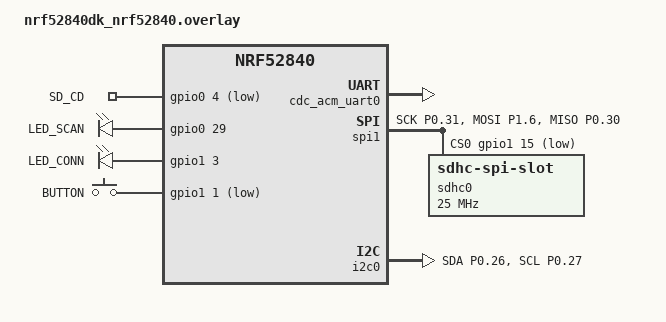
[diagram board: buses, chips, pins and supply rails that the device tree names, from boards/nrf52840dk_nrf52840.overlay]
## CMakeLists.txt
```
cmake_minimum_required(VERSION 3.20.0)

find_package(Zephyr REQUIRED HINTS $ENV{ZEPHYR_BASE})

project(nrf52840-sd-card+rtc-test)

target_sources(app PRIVATE
	src/main.c
	src/ble.c
	src/ble_sensor.c
	src/data_logger.c
)

zephyr_include_directories(${CMAKE_CURRENT_SOURCE_DIR}/inc)
target_include_directories(app PRIVATE inc)
```

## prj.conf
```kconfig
CONFIG_POWEROFF=y
CONFIG_PM_DEVICE=y
CONFIG_PM=y
CONFIG_PM_POLICY_DEFAULT=y

CONFIG_MAIN_STACK_SIZE=2048
CONFIG_SYSTEM_WORKQUEUE_STACK_SIZE=3072
CONFIG_BT_RX_STACK_SIZE=3072
CONFIG_HEAP_MEM_POOL_SIZE=16384

CONFIG_SPI=y
CONFIG_GPIO=y
CONFIG_I2C=y

CONFIG_DISK_ACCESS=y
CONFIG_DISK_DRIVERS=y

CONFIG_FILE_SYSTEM=y
CONFIG_FAT_FILESYSTEM_ELM=y
CONFIG_FS_FATFS_LFN=y
CONFIG_FS_FATFS_LFN_MODE_BSS=y
CONFIG_FS_FATFS_MAX_LFN=255
CONFIG_FS_FATFS_HAS_RTC=y
CONFIG_SDHC=y
CONFIG_SPI_SDHC=y

CONFIG_LOG=y
CONFIG_PRINTK=y
CONFIG_LOG_DEFAULT_LEVEL=1
CONFIG_LOG_BACKEND_UART_AUTOSTART=y

# Silence noisy subsystems, keep main errors visible
CONFIG_BT_LOG_LEVEL_ERR=y
CONFIG_BT_HCI_DRIVER_LOG_LEVEL_ERR=y
CONFIG_DISK_LOG_LEVEL_ERR=y
CONFIG_FS_LOG_LEVEL_ERR=y
CONFIG_SPI_LOG_LEVEL_ERR=y
CONFIG_I2C_LOG_LEVEL_ERR=y
CONFIG_SERIAL=y
CONFIG_CONSOLE=y
CONFIG_UART_CONSOLE=y
CONFIG_STDOUT_CONSOLE=y
CONFIG_UART_LINE_CTRL=y
CONFIG_USB_DEVICE_STACK_NEXT=y
CONFIG_UDC_BUF_COUNT=16
CONFIG_UDC_BUF_POOL_SIZE=8192
CONFIG_CDC_ACM_SERIAL_INITIALIZE_AT_BOOT=y
CONFIG_USBD_CDC_ACM_LOG_LEVEL_OFF=y
CONFIG_CDC_ACM_SERIAL_PRODUCT_STRING="datalogger_rev1"
CONFIG_CDC_ACM_SERIAL_PID=0x0004

CONFIG_BT=y
CONFIG_BT_CENTRAL=y
CONFIG_BT_OBSERVER=y
CONFIG_BT_MAX_CONN=4
CONFIG_BT_DEVICE_NAME="sensor_datalogger"
CONFIG_BT_GATT_CLIENT=y
CONFIG_BT_USER_PHY_UPDATE=y
CONFIG_BT_CTLR_PHY_CODED=y

CONFIG_BT_USER_DATA_LEN_UPDATE=y
CONFIG_BT_CTLR_DATA_LENGTH_MAX=251
CONFIG_BT_BUF_ACL_RX_SIZE=251
CONFIG_BT_BUF_ACL_TX_SIZE=251
CONFIG_BT_L2CAP_TX_MTU=247

CONFIG_BT_L2CAP_TX_BUF_COUNT=20
CONFIG_BT_BUF_ACL_TX_COUNT=20
CONFIG_BT_BUF_EVT_RX_COUNT=24
```

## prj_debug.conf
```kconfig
CONFIG_USB_DEVICE_STACK_NEXT=y
CONFIG_UDC_BUF_COUNT=16
CONFIG_UDC_BUF_POOL_SIZE=8192
CONFIG_CDC_ACM_SERIAL_INITIALIZE_AT_BOOT=y
CONFIG_USBD_CDC_ACM_LOG_LEVEL_OFF=y
CONFIG_CDC_ACM_SERIAL_PRODUCT_STRING="datalogger_rev1"
CONFIG_CDC_ACM_SERIAL_PID=0x0004
```

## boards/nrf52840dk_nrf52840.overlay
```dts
/* SPI1 configuration for SD card (HW-125 module) */
/ {
	aliases {
		sd-cd = &sd_cd;
	};

	chosen {
		zephyr,console = &cdc_acm_uart0;
		zephyr,shell-uart = &cdc_acm_uart0;
	};

	sd_inputs {
		compatible = "gpio-keys";

		sd_cd: sd_card_detect {
			gpios = <&gpio0 4 (GPIO_PULL_UP | GPIO_ACTIVE_LOW)>;
			label = "SD_CD";
		};
	};
};

&pinctrl {
	spi1_default: spi1_default {
		group1 {
			psels = <NRF_PSEL(SPIM_SCK, 0, 31)>;
		};
		group2 {
			psels = <NRF_PSEL(SPIM_MOSI, 1, 6)>;
			bias-pull-up;
		};
		group3 {
			psels = <NRF_PSEL(SPIM_MISO, 0, 30)>;
			bias-pull-up;
		};
	};
	spi1_sleep: spi1_sleep {
		group1 {
			psels = <NRF_PSEL(SPIM_SCK, 0, 31)>;
		};
		group2 {
			psels = <NRF_PSEL(SPIM_MOSI, 1, 6)>;
			bias-pull-up;
			low-power-enable;
		};
		group3 {
			psels = <NRF_PSEL(SPIM_MISO, 0, 30)>;
			bias-pull-up;
			low-power-enable;
		};
	};

	i2c0_default: i2c0_default {
		group1 {
			psels = <NRF_PSEL(TWIM_SDA, 0, 26)>,
				<NRF_PSEL(TWIM_SCL, 0, 27)>;
			bias-pull-up;
		};
	};
	i2c0_sleep: i2c0_sleep {
		group1 {
			psels = <NRF_PSEL(TWIM_SDA, 0, 26)>,
				<NRF_PSEL(TWIM_SCL, 0, 27)>;
			bias-pull-up;
			low-power-enable;
		};
	};
};

&zephyr_udc0 {
	cdc_acm_uart0: cdc_acm_uart0 {
		compatible = "zephyr,cdc-acm-uart";
	};
};

&spi1 {
	status = "okay";
	cs-gpios = <&gpio1 15 GPIO_ACTIVE_LOW>;
	pinctrl-0 = <&spi1_default>;
	pinctrl-1 = <&spi1_sleep>;
	pinctrl-names = "default", "sleep";

	sdhc0: sdhc@0 {
		compatible = "zephyr,sdhc-spi-slot";
		reg = <0>;
		status = "okay";
		spi-max-frequency = <25000000>;

		sdmmc0: sdmmc-disk {
			compatible = "zephyr,sdmmc-disk";
			disk-name = "SD";
			status = "okay";
		};
	};
};

&i2c0 {
	status = "okay";
	pinctrl-0 = <&i2c0_default>;
	pinctrl-1 = <&i2c0_sleep>;
	pinctrl-names = "default", "sleep";
};

&led0 {
	gpios = <&gpio0 29 GPIO_ACTIVE_HIGH>;
	label = "LED_SCAN";
};

&led1 {
	gpios = <&gpio1 3 GPIO_ACTIVE_HIGH>;
	label = "LED_CONN";
};

&button0 {
	gpios = <&gpio1 1 (GPIO_PULL_UP | GPIO_ACTIVE_LOW)>;
	label = "BUTTON";
};
```

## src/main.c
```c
#include <zephyr/kernel.h>
#include <zephyr/logging/log.h>
#include <zephyr/storage/disk_access.h>
#include <zephyr/fs/fs.h>
#include <zephyr/drivers/i2c.h>
#include <zephyr/drivers/gpio.h>
#include <zephyr/drivers/uart.h>
#include <ff.h>
#include <stdlib.h>
#include <string.h>

#include "ble.h"
#include "ble_sensor.h"
#include "data_logger.h"

LOG_MODULE_REGISTER(main, LOG_LEVEL_INF);

#define DISK_DRIVE_NAME "SD"
#define DISK_MOUNT_PT "/SD:"
#define RTC_I2C_ADDR 0x68
#define CONFIG_FILE_PATH DISK_MOUNT_PT "/config.txt"
#define DEFAULT_SENSOR_TYPE "double icm"
#define DEFAULT_SENSOR_BLE_NAME "crassus_sensor"
#define DEFAULT_SENSOR_DELAY_MS 1000U

#define SCAN_LED_NODE DT_ALIAS(led0)
#define CONN_LED_NODE DT_ALIAS(led1)
#define USER_BUTTON_NODE DT_ALIAS(sw0)
#define SD_CD_NODE DT_ALIAS(sd_cd)

static const struct gpio_dt_spec scan_led = GPIO_DT_SPEC_GET(SCAN_LED_NODE, gpios);
static const struct gpio_dt_spec conn_led = GPIO_DT_SPEC_GET(CONN_LED_NODE, gpios);
static const struct gpio_dt_spec user_button = GPIO_DT_SPEC_GET(USER_BUTTON_NODE, gpios);
static const struct gpio_dt_spec sd_cd = GPIO_DT_SPEC_GET(SD_CD_NODE, gpios);

static FATFS fat_fs;

static struct fs_mount_t mp = {
    .type = FS_FATFS,
    .fs_data = &fat_fs,
};

static const struct device *i2c_dev;

struct app_config {
    char sensor_type[32];
    char sensor_ble_name[32];
    uint16_t sensor_delay_ms;
};

static void load_default_config(struct app_config *cfg)
{
    strncpy(cfg->sensor_type, DEFAULT_SENSOR_TYPE, sizeof(cfg->sensor_type));
    cfg->sensor_type[sizeof(cfg->sensor_type) - 1] = '\0';

    strncpy(cfg->sensor_ble_name, DEFAULT_SENSOR_BLE_NAME, sizeof(cfg->sensor_ble_name));
    cfg->sensor_ble_name[sizeof(cfg->sensor_ble_name) - 1] = '\0';

    cfg->sensor_delay_ms = DEFAULT_SENSOR_DELAY_MS;
}

static char *trim_spaces(char *s)
{
    while (*s == ' ' || *s == '\t' || *s == '\r' || *s == '\n') {
        s++;
    }

    size_t len = strlen(s);
    while (len > 0U) {
        char c = s[len - 1U];
        if (c == ' ' || c == '\t' || c == '\r' || c == '\n') {
            s[len - 1U] = '\0';
            len--;
            continue;
        }
        break;
    }

    return s;
}

static int write_default_config_file(const struct app_config *cfg)
{
    struct fs_file_t file;
    char line[128];

    fs_file_t_init(&file);

    int ret = fs_open(&file, CONFIG_FILE_PATH, FS_O_CREATE | FS_O_WRITE);
    if (ret != 0) {
        return ret;
    }

    int len = snprintk(line, sizeof(line), "%s,%s,%u\n",
                       cfg->sensor_type,
                       cfg->sensor_ble_name,
                       cfg->sensor_delay_ms);
    if (len <= 0 || len >= (int)sizeof(line)) {
        (void)fs_close(&file);
        return -EINVAL;
    }

    ret = fs_write(&file, line, len);
    (void)fs_close(&file);
    if (ret < 0) {
        return ret;
    }

    return 0;
}

static int parse_config_line(struct app_config *cfg, char *line)
{
    char *saveptr;
    char *sensor_type;
    char *sensor_name;
    char *delay_str;
    long delay;

    sensor_type = strtok_r(line, ",", &saveptr);
    sensor_name = strtok_r(NULL, ",", &saveptr);
    delay_str = strtok_r(NULL, ",", &saveptr);

    if (sensor_type == NULL || sensor_name == NULL || delay_str == NULL) {
        return -EINVAL;
    }

    sensor_type = trim_spaces(sensor_type);
    sensor_name = trim_spaces(sensor_name);
    delay_str = trim_spaces(delay_str);

    if (sensor_type[0] == '\0' || sensor_name[0] == '\0') {
        return -EINVAL;
    }

    delay = strtol(delay_str, NULL, 10);
    if (delay <= 0L || delay > 65535L) {
        return -EINVAL;
    }

    strncpy(cfg->sensor_type, sensor_type, sizeof(cfg->sensor_type));
    cfg->sensor_type[sizeof(cfg->sensor_type) - 1] = '\0';

    strncpy(cfg->sensor_ble_name, sensor_name, sizeof(cfg->sensor_ble_name));
    cfg->sensor_ble_name[sizeof(cfg->sensor_ble_name) - 1] = '\0';

    cfg->sensor_delay_ms = (uint16_t)delay;
    return 0;
}

static int load_or_create_config(struct app_config *cfg)
{
    struct fs_file_t file;
    char line[128];

    load_default_config(cfg);
    fs_file_t_init(&file);

    int ret = fs_open(&file, CONFIG_FILE_PATH, FS_O_READ);
    if (ret == -ENOENT) {
        ret = write_default_config_file(cfg);
        if (ret != 0) {
            return ret;
        }

        LOG_INF("Config file created: %s", CONFIG_FILE_PATH);
        return 0;
    }
    if (ret != 0) {
        return ret;
    }

    ssize_t read_len = fs_read(&file, line, sizeof(line) - 1);
    (void)fs_close(&file);
    if (read_len < 0) {
        return (int)read_len;
    }
    if (read_len == 0) {
        int write_ret = write_default_config_file(cfg);
        if (write_ret != 0) {
            return write_ret;
        }

        LOG_WRN("Config file was empty, restored defaults");
        return 0;
    }

    line[read_len] = '\0';

    ret = parse_config_line(cfg, line);
    if (ret != 0) {
        load_default_config(cfg);

        ret = write_default_config_file(cfg);
        if (ret != 0) {
            return ret;
        }

        LOG_WRN("Config file invalid, restored defaults");
        return 0;
    }

    LOG_INF("Config loaded: type='%s' name='%s' delay=%u",
            cfg->sensor_type,
            cfg->sensor_ble_name,
            cfg->sensor_delay_ms);
    return 0;
}

static void set_led(const struct gpio_dt_spec *led, int value)
{
    if (led->port != NULL) {
        (void)gpio_pin_set_dt(led, value);
    }
}

static void error_halt(void)
{
    set_led(&scan_led, 1);
    set_led(&conn_led, 1);
    while (1) {
        k_sleep(K_SECONDS(1));
    }
}

static int sd_card_present(void)
{
    if (!device_is_ready(sd_cd.port)) {
        return -ENODEV;
    }

    int ret = gpio_pin_configure_dt(&sd_cd, GPIO_INPUT);
    if (ret != 0) {
        return ret;
    }

    ret = gpio_pin_get_dt(&sd_cd);
    if (ret < 0) {
        return ret;
    }

    return ret;
}

static uint8_t bcd_to_bin(uint8_t bcd)
{
    return ((bcd >> 4) * 10U) + (bcd & 0x0F);
}

static int rtc_read_timestamp(char *buf, size_t len)
{
    uint8_t reg = 0x00;
    uint8_t data[7];

    int ret = i2c_write_read(i2c_dev, RTC_I2C_ADDR, &reg, 1, data, sizeof(data));
    if (ret != 0) {
        return ret;
    }

    uint8_t sec = bcd_to_bin(data[0] & 0x7F);
    uint8_t min = bcd_to_bin(data[1] & 0x7F);
    uint8_t hour = bcd_to_bin(data[2] & 0x3F);
    uint8_t day = bcd_to_bin(data[4] & 0x3F);
    uint8_t mon = bcd_to_bin(data[5] & 0x1F);
    uint16_t year = 2000 + bcd_to_bin(data[6]);

    return snprintk(buf, len, "%04u-%02u-%02u %02u:%02u:%02u",
        year, mon, day, hour, min, sec);
}


#if IS_ENABLED(CONFIG_USB_DEVICE_STACK_NEXT)
static void wait_for_usb_console(void)
{
    const struct device *console = DEVICE_DT_GET(DT_CHOSEN(zephyr_console));
    uint32_t dtr = 0;
    int64_t deadline = k_uptime_get() + 1000;

    while (k_uptime_get() < deadline) {
        uart_line_ctrl_get(console, UART_LINE_CTRL_DTR, &dtr);
        if (dtr) {
            return;
        }
        k_sleep(K_MSEC(100));
    }
}
#endif

int main(void)
{
    int ret;
    struct app_config cfg;

#if IS_ENABLED(CONFIG_USB_DEVICE_STACK_NEXT)
    wait_for_usb_console();
#endif

    LOG_INF("Datalogger boot");

    if (!device_is_ready(scan_led.port) || !device_is_ready(conn_led.port)) {
        LOG_ERR("LED GPIO not ready");
        return -ENODEV;
    }

    ret = gpio_pin_configure_dt(&scan_led, GPIO_OUTPUT_INACTIVE);
    if (ret != 0) {
        LOG_ERR("Scan LED init failed: %d", ret);
        return ret;
    }

    ret = gpio_pin_configure_dt(&conn_led, GPIO_OUTPUT_INACTIVE);
    if (ret != 0) {
        LOG_ERR("Conn LED init failed: %d", ret);
        return ret;
    }

    ret = sd_card_present();
    if (ret < 0) {
        LOG_ERR("SD card detect init failed: %d", ret);
        error_halt();
    }
    if (ret == 0) {
        LOG_ERR("No SD card detected");
        error_halt();
    }

    ret = disk_access_ioctl(DISK_DRIVE_NAME, DISK_IOCTL_CTRL_INIT, NULL);
    if (ret != 0) {
        LOG_ERR("Disk init failed: %d", ret);
        error_halt();
    }

    mp.mnt_point = DISK_MOUNT_PT;
    ret = fs_mount(&mp);
    if (ret != 0) {
        LOG_ERR("Mount failed: %d", ret);
        error_halt();
    }

    ret = load_or_create_config(&cfg);
    if (ret != 0) {
        LOG_ERR("Config load/create failed: %d", ret);
        error_halt();
    }

    if ((strcmp(cfg.sensor_type, "double icm") != 0) &&
        (strcmp(cfg.sensor_type, "double_icm") != 0)) {
        LOG_WRN("Sensor type '%s' not explicitly supported yet, using default BLE workflow",
                cfg.sensor_type);
    }

    ret = ble_set_target_name(cfg.sensor_ble_name);
    if (ret != 0) {
        LOG_ERR("BLE target name config failed: %d", ret);
        error_halt();
    }

    ret = ble_sensor_set_delay_ms(cfg.sensor_delay_ms);
    if (ret != 0) {
        LOG_ERR("Sensor delay config failed: %d", ret);
        error_halt();
    }

    ret = ble_init(&scan_led, &conn_led, &user_button);
    if (ret != 0) {
        LOG_ERR("BLE init failed: %d", ret);
        error_halt();
    }

    i2c_dev = DEVICE_DT_GET(DT_NODELABEL(i2c0));
    if (!device_is_ready(i2c_dev)) {
        LOG_ERR("I2C0 not ready");
        error_halt();
    }

/*     ret = rtc_set_fixed_time_for_flash();
    if (ret != 0) {
        LOG_ERR("RTC fixed-time init failed: %d", ret);
        error_halt();
    } */

    char timestamp[32];
    ret = rtc_read_timestamp(timestamp, sizeof(timestamp));
    if (ret < 0) {
        LOG_ERR("RTC init failed: %d", ret);
        error_halt();
    }

    ret = data_logger_init(i2c_dev);
    if (ret != 0) {
        LOG_ERR("Data logger init failed: %d", ret);
        error_halt();
    }

    LOG_INF("Init complete — RTC: %s", timestamp);

    /* Ready indication: double-blink both LEDs */
    for (int i = 0; i < 2; i++) {
        set_led(&scan_led, 1);
        set_led(&conn_led, 1);
        k_sleep(K_MSEC(150));
        set_led(&scan_led, 0);
        set_led(&conn_led, 0);
        k_sleep(K_MSEC(150));
    }

    while (1) {
        k_sleep(K_FOREVER);
    }
}
```

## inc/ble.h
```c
#ifndef BLE_H
#define BLE_H

#include <stddef.h>
#include <zephyr/drivers/gpio.h>

int ble_init(const struct gpio_dt_spec *scan_led,
             const struct gpio_dt_spec *conn_led,
             const struct gpio_dt_spec *button);
int ble_set_target_name(const char *name);

#endif /* BLE_H */
```

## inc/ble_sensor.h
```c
#ifndef BLE_SENSOR_H
#define BLE_SENSOR_H

#include <stdint.h>
#include <zephyr/bluetooth/conn.h>

int ble_sensor_init(void);
int ble_sensor_set_delay_ms(uint16_t delay_ms);
void ble_sensor_on_connected(struct bt_conn *conn, const char *device_name);
void ble_sensor_on_disconnected(struct bt_conn *conn, uint8_t reason);

#endif /* BLE_SENSOR_H */
```

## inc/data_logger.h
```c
#ifndef DATA_LOGGER_H
#define DATA_LOGGER_H

#include <stdint.h>
#include <zephyr/device.h>

struct Sample {
    int16_t ax1;
    int16_t ay1;
    int16_t az1;
    int16_t mx1;
    int16_t my1;
    int16_t mz1;
    int16_t ax2;
    int16_t ay2;
    int16_t az2;
    int16_t mx2;
    int16_t my2;
    int16_t mz2;
};

int data_logger_init(const struct device *i2c_dev);
int data_logger_queue_sample(const char *device_name,
                             const char *device_addr,
                             const struct Sample *sample);
void data_logger_set_sample_period(uint16_t sample_period_ms);
void data_logger_flush(void);
void data_logger_flush_sync(void);

#endif /* DATA_LOGGER_H */
```

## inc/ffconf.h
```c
/*
 * Custom FatFS configuration for NCS 3.1.1
 * Defines FF_VOLUMES to prevent compilation error
 */

#ifndef FFCONF_H
#define FFCONF_H

#define FF_VOLUMES 1

#define FF_USE_LFN        1
#define FF_MAX_LFN        255
#define FF_LFN_UNICODE    0

#endif /* FFCONF_H */
```

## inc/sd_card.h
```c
#include <stddef.h>

#ifndef SD_CARD_H
#define SD_CARD_H

#ifdef __cplusplus
extern "C" {
#endif

int sd_card_init(void);
int sd_card_write_test_file(const char *filename, const char *contents);

#ifdef __cplusplus
}
#endif

#endif /* SD_CARD_H */
```

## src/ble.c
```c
#include <zephyr/kernel.h>
#include <zephyr/logging/log.h>
#include <zephyr/drivers/gpio.h>
#include <zephyr/bluetooth/bluetooth.h>
#include <zephyr/bluetooth/conn.h>
#include <zephyr/bluetooth/hci.h>
#include <zephyr/bluetooth/addr.h>
#include <zephyr/sys/atomic.h>
#include <zephyr/sys/util.h>
#include <errno.h>
#include <string.h>

#include "ble.h"
#include "ble_sensor.h"

LOG_MODULE_REGISTER(ble, LOG_LEVEL_INF);

#define SCAN_BLINK_PERIOD_MS 200
#define SCAN_DURATION_SECONDS 10
#define CONNECT_RETRY_DELAY_MS 1500
#define RECONNECT_SCAN_DELAY_SECONDS 3
#define RECONNECT_SCAN_BACKOFF_SECONDS 30
#define PHY_UPDATE_DELAY_MS 1200
#define BUTTON_DEBOUNCE_MS 150

#define MAX_CONN CONFIG_BT_MAX_CONN
#define MAX_TARGET_NAME_LEN 32

static const struct gpio_dt_spec *scan_led;
static const struct gpio_dt_spec *conn_led;
static const struct gpio_dt_spec *user_button;

static struct k_work scan_start_work;
static struct k_work_delayable scan_stop_work;
static struct k_work_delayable reconnect_scan_work;
static struct k_work_delayable phy_update_work;
static struct k_timer scan_blink_timer;
static struct gpio_callback button_cb_data;
static atomic_t scan_active;
static atomic_t connect_in_progress;
static int64_t last_connect_ms;
static int64_t last_button_event_ms;
static struct k_work_delayable connect_work;
static bt_addr_le_t connect_addr;
static bool connect_addr_valid;
static atomic_t reconnect_mode;

static struct bt_conn *active_conns[MAX_CONN];
static bt_addr_le_t pending_addrs[MAX_CONN];
static bool pending_in_use[MAX_CONN];
static size_t active_conn_count;
static struct bt_conn *pending_create_conn;
static struct bt_conn *pending_phy_conn;

static char target_name[MAX_TARGET_NAME_LEN] = "crassus_sensor";

static void remove_pending_addr(const bt_addr_le_t *addr);
static void schedule_reconnect_scan(k_timeout_t delay);

static void schedule_phy_update(struct bt_conn *conn)
{
    if (conn == NULL) {
        return;
    }

    if (pending_phy_conn != NULL) {
        bt_conn_unref(pending_phy_conn);
        pending_phy_conn = NULL;
    }

    pending_phy_conn = bt_conn_ref(conn);
    (void)k_work_cancel_delayable(&phy_update_work);
    k_work_schedule(&phy_update_work, K_MSEC(PHY_UPDATE_DELAY_MS));
}

static void phy_update_work_handler(struct k_work *work)
{
    ARG_UNUSED(work);

    if (pending_phy_conn == NULL) {
        return;
    }

    int ret = bt_conn_le_phy_update(pending_phy_conn, BT_CONN_LE_PHY_PARAM_CODED);
    if (ret != 0) {
        LOG_WRN("Delayed PHY update request failed (%d)", ret);
    } else {
        LOG_INF("Delayed PHY update requested");
    }

    bt_conn_unref(pending_phy_conn);
    pending_phy_conn = NULL;
}

static void start_connection_attempt(void)
{
    if (!connect_addr_valid) {
        atomic_set(&connect_in_progress, 0);
        return;
    }

    char addr_str[BT_ADDR_LE_STR_LEN];
    bt_addr_le_to_str(&connect_addr, addr_str, sizeof(addr_str));
    LOG_INF("Connecting to %s", addr_str);

    struct bt_conn *conn = NULL;
    int ret = bt_conn_le_create(&connect_addr, BT_CONN_LE_CREATE_CONN,
                                BT_LE_CONN_PARAM_DEFAULT, &conn);
    if (ret != 0) {
        LOG_WRN("Connect failed (%d)", ret);
        remove_pending_addr(&connect_addr);
        connect_addr_valid = false;
        atomic_set(&connect_in_progress, 0);

        if (atomic_get(&reconnect_mode) && active_conn_count == 0U) {
            schedule_reconnect_scan(K_SECONDS(RECONNECT_SCAN_BACKOFF_SECONDS));
        }

        return;
    }

    if (conn == NULL) {
        LOG_ERR("bt_conn_le_create succeeded with NULL conn");
        return;
    }

    if (pending_create_conn != NULL) {
        LOG_WRN("Releasing stale pending connect ref %p", pending_create_conn);
        bt_conn_unref(pending_create_conn);
        pending_create_conn = NULL;
    }

    pending_create_conn = conn;
}

static size_t count_active_conns(void)
{
    size_t count = 0U;

    for (size_t i = 0; i < MAX_CONN; i++) {
        if (active_conns[i] != NULL) {
            count++;
        }
    }

    return count;
}

static void schedule_reconnect_scan(k_timeout_t delay)
{
    if (active_conn_count > 0U) {
        return;
    }

    atomic_set(&reconnect_mode, 1);
    (void)k_work_cancel_delayable(&reconnect_scan_work);
    k_work_schedule(&reconnect_scan_work, delay);
}

static void reconnect_scan_work_handler(struct k_work *work)
{
    ARG_UNUSED(work);

    if (active_conn_count > 0U) {
        atomic_set(&reconnect_mode, 0);
        return;
    }

    k_work_submit(&scan_start_work);
}

static void set_led(const struct gpio_dt_spec *led, int value)
{
    if (led && led->port != NULL) {
        (void)gpio_pin_set_dt(led, value);
    }
}

static void update_conn_led(void)
{
    active_conn_count = count_active_conns();
    set_led(conn_led, active_conn_count > 0U ? 1 : 0);
}

static bool addr_is_pending(const bt_addr_le_t *addr)
{
    for (size_t i = 0; i < MAX_CONN; i++) {
        if (pending_in_use[i] && (bt_addr_le_cmp(addr, &pending_addrs[i]) == 0)) {
            return true;
        }
    }
    return false;
}

static void add_pending_addr(const bt_addr_le_t *addr)
{
    for (size_t i = 0; i < MAX_CONN; i++) {
        if (!pending_in_use[i]) {
            pending_addrs[i] = *addr;
            pending_in_use[i] = true;
            return;
        }
    }
}

static void remove_pending_addr(const bt_addr_le_t *addr)
{
    for (size_t i = 0; i < MAX_CONN; i++) {
        if (pending_in_use[i] && (bt_addr_le_cmp(addr, &pending_addrs[i]) == 0)) {
            pending_in_use[i] = false;
            return;
        }
    }
}

static bool addr_is_active(const bt_addr_le_t *addr)
{
    for (size_t i = 0; i < MAX_CONN; i++) {
        if (active_conns[i] != NULL) {
            const bt_addr_le_t *dst = bt_conn_get_dst(active_conns[i]);
            if (bt_addr_le_cmp(addr, dst) == 0) {
                return true;
            }
        }
    }
    return false;
}

static void add_active_conn(struct bt_conn *conn)
{
    const bt_addr_le_t *new_dst = bt_conn_get_dst(conn);

    for (size_t i = 0; i < MAX_CONN; i++) {
        if (active_conns[i] == conn) {
            return;
        }

        if (active_conns[i] != NULL) {
            const bt_addr_le_t *dst = bt_conn_get_dst(active_conns[i]);
            if (bt_addr_le_cmp(new_dst, dst) == 0) {
                return;
            }
        }
    }

    for (size_t i = 0; i < MAX_CONN; i++) {
        if (active_conns[i] == NULL) {
            active_conns[i] = bt_conn_ref(conn);
            active_conn_count++;
            return;
        }
    }

    LOG_WRN("No free active connection slots");
}

static void remove_active_conn(struct bt_conn *conn)
{
    const bt_addr_le_t *rm_dst = bt_conn_get_dst(conn);

    for (size_t i = 0; i < MAX_CONN; i++) {
        if (active_conns[i] == conn) {
            bt_conn_unref(active_conns[i]);
            active_conns[i] = NULL;
            if (active_conn_count > 0U) {
                active_conn_count--;
            }
            return;
        }
    }

    /* Fallback for cases where bt_conn pointer identity changed but peer address matches. */
    for (size_t i = 0; i < MAX_CONN; i++) {
        if (active_conns[i] != NULL) {
            const bt_addr_le_t *dst = bt_conn_get_dst(active_conns[i]);
            if (bt_addr_le_cmp(rm_dst, dst) == 0) {
                bt_conn_unref(active_conns[i]);
                active_conns[i] = NULL;
                if (active_conn_count > 0U) {
                    active_conn_count--;
                }
                return;
            }
        }
    }

    LOG_WRN("Disconnect for unknown connection");
}

static bool name_matches_allowed(const uint8_t *name, size_t name_len)
{
    size_t target_len = strlen(target_name);

    if (name_len == target_len && memcmp(name, target_name, name_len) == 0) {
        return true;
    }

    return false;
}

#define MAX_DEVICE_NAME_LEN 32

struct name_match_ctx {
    bool match;
    char name[MAX_DEVICE_NAME_LEN];
};

static bool ad_parse_cb(struct bt_data *data, void *user_data)
{
    struct name_match_ctx *ctx = user_data;

    if (data->type == BT_DATA_NAME_COMPLETE || data->type == BT_DATA_NAME_SHORTENED) {
        if (name_matches_allowed(data->data, data->data_len)) {
            ctx->match = true;
            size_t copy_len = MIN(data->data_len, sizeof(ctx->name) - 1U);
            memcpy(ctx->name, data->data, copy_len);
            ctx->name[copy_len] = '\0';
            return false;
        }
    }

    return true;
}

static char connect_name[MAX_DEVICE_NAME_LEN];

static void connect_work_handler(struct k_work *work)
{
    ARG_UNUSED(work);

    start_connection_attempt();
}

static void device_found(const bt_addr_le_t *addr, int8_t rssi, uint8_t type,
                         struct net_buf_simple *ad)
{
    ARG_UNUSED(rssi);

    if (!atomic_get(&scan_active)) {
        return;
    }

    if (type != BT_GAP_ADV_TYPE_ADV_IND &&
        type != BT_GAP_ADV_TYPE_ADV_DIRECT_IND &&
        type != BT_GAP_ADV_TYPE_SCAN_RSP) {
        return;
    }

    if (active_conn_count >= MAX_CONN) {
        return;
    }

    if (atomic_get(&connect_in_progress)) {
        return;
    }

    if (addr_is_pending(addr) || addr_is_active(addr)) {
        return;
    }

    if ((k_uptime_get() - last_connect_ms) < CONNECT_RETRY_DELAY_MS) {
        return;
    }

    struct name_match_ctx ctx = { 0 };
    bt_data_parse(ad, ad_parse_cb, &ctx);
    if (!ctx.match) {
        return;
    }

    if (ctx.name[0] != '\0') {
        strncpy(connect_name, ctx.name, sizeof(connect_name));
        connect_name[sizeof(connect_name) - 1] = '\0';
    } else {
        strncpy(connect_name, "unknown", sizeof(connect_name));
        connect_name[sizeof(connect_name) - 1] = '\0';
    }

    char addr_str[BT_ADDR_LE_STR_LEN];
    bt_addr_le_to_str(addr, addr_str, sizeof(addr_str));
    LOG_INF("Match found: %s", addr_str);

    atomic_set(&connect_in_progress, 1);
    add_pending_addr(addr);
    last_connect_ms = k_uptime_get();
    if (atomic_get(&scan_active)) {
        (void)bt_le_scan_stop();
        atomic_set(&scan_active, 0);
        k_timer_stop(&scan_blink_timer);
        set_led(scan_led, 0);
    }

    connect_addr = *addr;
    connect_addr_valid = true;
    (void)k_work_cancel_delayable(&connect_work);
    k_work_schedule(&connect_work, K_NO_WAIT);
}

static void scan_blink_timer_handler(struct k_timer *timer)
{
    static bool led_on;

    ARG_UNUSED(timer);
    led_on = !led_on;
    set_led(scan_led, led_on ? 1 : 0);
}

static void scan_stop_work_handler(struct k_work *work)
{
    ARG_UNUSED(work);

    if (!atomic_get(&scan_active)) {
        return;
    }

    int ret = bt_le_scan_stop();
    if (ret != 0) {
        LOG_WRN("Scan stop failed (%d)", ret);
    }

    atomic_set(&scan_active, 0);
    k_timer_stop(&scan_blink_timer);
    set_led(scan_led, 0);
    LOG_INF("Scan stopped");

    if (atomic_get(&reconnect_mode) &&
        active_conn_count == 0U &&
        !atomic_get(&connect_in_progress)) {
        schedule_reconnect_scan(K_SECONDS(RECONNECT_SCAN_BACKOFF_SECONDS));
    }
}

static void scan_start_work_handler(struct k_work *work)
{
    ARG_UNUSED(work);

    if (!atomic_cas(&scan_active, 0, 1)) {
        return;
    }

    struct bt_le_scan_param scan_param = {
        .type = BT_HCI_LE_SCAN_ACTIVE,
        .options = BT_LE_SCAN_OPT_FILTER_DUPLICATE,
        .interval = BT_GAP_SCAN_FAST_INTERVAL,
        .window = BT_GAP_SCAN_FAST_WINDOW,
    };

    int ret = bt_le_scan_start(&scan_param, device_found);
    if (ret != 0) {
        LOG_ERR("Scan start failed (%d)", ret);
        atomic_set(&scan_active, 0);
        return;
    }

    LOG_INF("Scan started");
    k_timer_start(&scan_blink_timer, K_NO_WAIT, K_MSEC(SCAN_BLINK_PERIOD_MS));
    k_work_schedule(&scan_stop_work, K_SECONDS(SCAN_DURATION_SECONDS));
}

static void button_pressed(const struct device *dev, struct gpio_callback *cb,
                           uint32_t pins)
{
    ARG_UNUSED(dev);
    ARG_UNUSED(cb);
    ARG_UNUSED(pins);

    int64_t now = k_uptime_get();
    if ((now - last_button_event_ms) < BUTTON_DEBOUNCE_MS) {
        return;
    }
    last_button_event_ms = now;

    /* Trigger manual scan on button release, not on press. */
    int state = gpio_pin_get_dt(user_button);
    if (state < 0) {
        LOG_WRN("Button read failed: %d", state);
        return;
    }

    if (state != 0) {
        return;
    }

    k_work_submit(&scan_start_work);
}

static void bt_connected(struct bt_conn *conn, uint8_t err)
{
    const bt_addr_le_t *dst = bt_conn_get_dst(conn);
    char addr_str[BT_ADDR_LE_STR_LEN];

    bt_addr_le_to_str(dst, addr_str, sizeof(addr_str));

    if (pending_create_conn == conn) {
        bt_conn_unref(pending_create_conn);
        pending_create_conn = NULL;
    }

    remove_pending_addr(dst);
    atomic_set(&connect_in_progress, 0);
    connect_addr_valid = false;

    if (err != 0U) {
        LOG_WRN("Failed to connect to %s (%u)", addr_str, err);
        return;
    }

    add_active_conn(conn);
    atomic_set(&reconnect_mode, 0);
    (void)k_work_cancel_delayable(&reconnect_scan_work);
    update_conn_led();
    LOG_INF("Connected: %s", addr_str);

    schedule_phy_update(conn);

    ble_sensor_on_connected(conn, connect_name);
}

static void bt_le_phy_updated(struct bt_conn *conn,
                              struct bt_conn_le_phy_info *param)
{
    const bt_addr_le_t *dst = bt_conn_get_dst(conn);
    char addr_str[BT_ADDR_LE_STR_LEN];

    bt_addr_le_to_str(dst, addr_str, sizeof(addr_str));
    LOG_INF("PHY updated for %s: TX=0x%02x RX=0x%02x", addr_str,
            param->tx_phy, param->rx_phy);
}

static void bt_disconnected(struct bt_conn *conn, uint8_t reason)
{
    const bt_addr_le_t *dst = bt_conn_get_dst(conn);
    char addr_str[BT_ADDR_LE_STR_LEN];

    bt_addr_le_to_str(dst, addr_str, sizeof(addr_str));
    LOG_INF("Disconnected: %s (reason %u)", addr_str, reason);

    if (pending_create_conn == conn) {
        bt_conn_unref(pending_create_conn);
        pending_create_conn = NULL;
    }

    if (pending_phy_conn == conn) {
        (void)k_work_cancel_delayable(&phy_update_work);
        bt_conn_unref(pending_phy_conn);
        pending_phy_conn = NULL;
    }

    remove_active_conn(conn);
    update_conn_led();
    atomic_set(&connect_in_progress, 0);
    connect_addr_valid = false;

    ble_sensor_on_disconnected(conn, reason);

    if (active_conn_count == 0U) {
        schedule_reconnect_scan(K_SECONDS(RECONNECT_SCAN_DELAY_SECONDS));
    }
}

static struct bt_conn_cb conn_callbacks = {
    .connected = bt_connected,
    .disconnected = bt_disconnected,
    .le_phy_updated = bt_le_phy_updated,
};

int ble_init(const struct gpio_dt_spec *scan_led_spec,
             const struct gpio_dt_spec *conn_led_spec,
             const struct gpio_dt_spec *button_spec)
{
    int ret;

    scan_led = scan_led_spec;
    conn_led = conn_led_spec;
    user_button = button_spec;

    if (!user_button || !device_is_ready(user_button->port)) {
        LOG_ERR("Button GPIO not ready");
        return -ENODEV;
    }

    ret = gpio_pin_configure_dt(user_button, GPIO_INPUT);
    if (ret != 0) {
        LOG_ERR("Button init failed: %d", ret);
        return ret;
    }

    ret = gpio_pin_interrupt_configure_dt(user_button, GPIO_INT_EDGE_BOTH);
    if (ret != 0) {
        LOG_ERR("Button interrupt init failed: %d", ret);
        return ret;
    }

    gpio_init_callback(&button_cb_data, button_pressed, BIT(user_button->pin));
    gpio_add_callback(user_button->port, &button_cb_data);

    k_work_init(&scan_start_work, scan_start_work_handler);
    k_work_init_delayable(&scan_stop_work, scan_stop_work_handler);
    k_work_init_delayable(&connect_work, connect_work_handler);
    k_work_init_delayable(&reconnect_scan_work, reconnect_scan_work_handler);
    k_work_init_delayable(&phy_update_work, phy_update_work_handler);
    k_timer_init(&scan_blink_timer, scan_blink_timer_handler, NULL);

    ret = bt_enable(NULL);
    if (ret != 0) {
        LOG_ERR("Bluetooth init failed: %d", ret);
        return ret;
    }

    bt_conn_cb_register(&conn_callbacks);

    ret = ble_sensor_init();
    if (ret != 0) {
        LOG_ERR("BLE sensor init failed: %d", ret);
        return ret;
    }

    return 0;
}

int ble_set_target_name(const char *name)
{
    size_t len;

    if (name == NULL) {
        return -EINVAL;
    }

    len = strlen(name);
    if (len == 0U || len >= sizeof(target_name)) {
        return -EINVAL;
    }

    strncpy(target_name, name, sizeof(target_name));
    target_name[sizeof(target_name) - 1] = '\0';

    LOG_INF("BLE target name set to '%s'", target_name);
    return 0;
}
```

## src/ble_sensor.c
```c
#include <zephyr/kernel.h>
#include <zephyr/logging/log.h>
#include <zephyr/bluetooth/conn.h>
#include <zephyr/bluetooth/gatt.h>
#include <zephyr/bluetooth/uuid.h>
#include <zephyr/bluetooth/addr.h>
#include <zephyr/sys/byteorder.h>
#include <zephyr/sys/util.h>
#include <errno.h>
#include <string.h>

#include "ble_sensor.h"
#include "data_logger.h"

LOG_MODULE_REGISTER(ble_sensor, LOG_LEVEL_INF);

#define SENSOR_SUBSCRIBE_DELAY_MS 200
#define SENSOR_DELAY_DEFAULT_MS 1000
#define SENSOR_PING_DELAY_MS 50
#define SENSOR_DELAY_READ_DELAY_MS 50

#define BT_UUID_BLE_ICM_SERVICE_VAL \
        BT_UUID_128_ENCODE(0x7e2a3f10, 0x8d0b, 0x4f6e, 0x9d75, 0x1d4c5b6a7c80)
#define BT_UUID_BLE_ICM_DELAY_VAL \
        BT_UUID_128_ENCODE(0x7e2a3f10, 0x8d0b, 0x4f6e, 0x9d75, 0x1d4c5b6a7c81)
#define BT_UUID_BLE_ICM_DATA_VAL \
        BT_UUID_128_ENCODE(0x7e2a3f10, 0x8d0b, 0x4f6e, 0x9d75, 0x1d4c5b6a7c82)
#define BT_UUID_BLE_ICM_BLINK_VAL \
    BT_UUID_128_ENCODE(0x7e2a3f10, 0x8d0b, 0x4f6e, 0x9d75, 0x1d4c5b6a7c83)

static struct bt_uuid_128 sensor_service_uuid = BT_UUID_INIT_128(BT_UUID_BLE_ICM_SERVICE_VAL);
static struct bt_uuid_128 sensor_delay_uuid = BT_UUID_INIT_128(BT_UUID_BLE_ICM_DELAY_VAL);
static struct bt_uuid_128 sensor_data_uuid = BT_UUID_INIT_128(BT_UUID_BLE_ICM_DATA_VAL);
static struct bt_uuid_128 sensor_ping_uuid = BT_UUID_INIT_128(BT_UUID_BLE_ICM_BLINK_VAL);
static uint16_t sensor_delay_ms = SENSOR_DELAY_DEFAULT_MS;

struct ble_sensor_conn {
    struct bt_conn *conn;
    struct bt_gatt_discover_params discover_params;
    struct bt_gatt_subscribe_params subscribe_params;
    struct bt_gatt_write_params write_params;
    struct bt_gatt_read_params read_params;
    struct bt_gatt_exchange_params exchange_params;
    struct k_work_delayable subscribe_work;
    struct k_work_delayable ping_work;
    struct k_work_delayable read_work;
    uint16_t svc_start;
    uint16_t svc_end;
    uint16_t delay_handle;
    uint16_t data_handle;
    uint16_t ping_handle;
    uint16_t data_ccc_handle;
    uint16_t data_decl_handle;
    uint16_t data_end_handle;
    uint16_t delay_value;
    uint8_t ping_value;
    char device_name[32];
    char device_addr[BT_ADDR_LE_STR_LEN];
    bool in_use;
    bool subscribed;
    bool mtu_exchanged;
};

static struct ble_sensor_conn connections[CONFIG_BT_MAX_CONN];

static void subscribe_work_handler(struct k_work *work);
static void read_work_handler(struct k_work *work);
static void start_subscribe_delayed(struct ble_sensor_conn *ctx);
static void start_service_discovery(struct ble_sensor_conn *ctx);

static void mtu_exchange_cb(struct bt_conn *conn, uint8_t err,
                            struct bt_gatt_exchange_params *params)
{
    struct ble_sensor_conn *ctx = CONTAINER_OF(params, struct ble_sensor_conn, exchange_params);

    if (err != 0U) {
        LOG_WRN("MTU exchange failed (%u)", err);
    } else {
        LOG_INF("MTU exchange done");
    }

    ctx->mtu_exchanged = true;
    start_service_discovery(ctx);
}

static uint8_t delay_read_cb(struct bt_conn *conn, uint8_t err,
                             struct bt_gatt_read_params *params,
                             const void *data, uint16_t length)
{
    // struct ble_sensor_conn *ctx = CONTAINER_OF(params, struct ble_sensor_conn, read_params);

    if (err != 0U) {
        LOG_WRN("Delay read failed (%u)", err);
        return BT_GATT_ITER_STOP;
    }

    if (data == NULL) {
        return BT_GATT_ITER_STOP;
    }

    if (length >= sizeof(uint16_t)) {
        uint16_t val = sys_get_le16(data);
        LOG_INF("Delay read-back: %u ms", val);
        data_logger_set_sample_period(val);
    } else {
        LOG_WRN("Delay read-back length %u", length);
    }

    return BT_GATT_ITER_STOP;
}

static void read_work_handler(struct k_work *work)
{
    struct k_work_delayable *delayable = k_work_delayable_from_work(work);
    struct ble_sensor_conn *ctx = CONTAINER_OF(delayable, struct ble_sensor_conn, read_work);

    if (!ctx->in_use || ctx->delay_handle == 0U) {
        return;
    }

    ctx->read_params.func = delay_read_cb;
    ctx->read_params.handle_count = 1;
    ctx->read_params.single.handle = ctx->delay_handle;
    ctx->read_params.single.offset = 0;

    int ret = bt_gatt_read(ctx->conn, &ctx->read_params);
    if (ret != 0) {
        LOG_WRN("Delay read start failed (%d)", ret);
    }
}

static void schedule_delay_read(struct ble_sensor_conn *ctx)
{
    (void)k_work_cancel_delayable(&ctx->read_work);
    k_work_schedule(&ctx->read_work, K_MSEC(SENSOR_DELAY_READ_DELAY_MS));
}

static void ping_work_handler(struct k_work *work)
{
    struct k_work_delayable *delayable = k_work_delayable_from_work(work);
    struct ble_sensor_conn *ctx = CONTAINER_OF(delayable, struct ble_sensor_conn, ping_work);

    if (!ctx->in_use || ctx->ping_handle == 0U) {
        return;
    }

    ctx->ping_value = 0x01;
    int ret = bt_gatt_write_without_response(ctx->conn, ctx->ping_handle,
                                             &ctx->ping_value, sizeof(ctx->ping_value), false);
    if (ret != 0) {
        LOG_WRN("Ping write (no-rsp) failed (%d)", ret);
    } else {
        LOG_INF("Ping written (no-rsp)");
    }

    start_subscribe_delayed(ctx);
}

static struct ble_sensor_conn *find_conn_ctx(struct bt_conn *conn)
{
    for (size_t i = 0; i < ARRAY_SIZE(connections); i++) {
        if (connections[i].in_use && connections[i].conn == conn) {
            return &connections[i];
        }
    }
    return NULL;
}

static void clear_conn_ctx(struct ble_sensor_conn *ctx)
{
    if (ctx->subscribed) {
        (void)bt_gatt_unsubscribe(ctx->conn, &ctx->subscribe_params);
    }

    (void)k_work_cancel_delayable(&ctx->subscribe_work);
    (void)k_work_cancel_delayable(&ctx->ping_work);
    (void)k_work_cancel_delayable(&ctx->read_work);

    if (ctx->conn != NULL) {
        bt_conn_unref(ctx->conn);
    }

    memset(ctx, 0, sizeof(*ctx));
    k_work_init_delayable(&ctx->subscribe_work, subscribe_work_handler);
    k_work_init_delayable(&ctx->ping_work, ping_work_handler);
    k_work_init_delayable(&ctx->read_work, read_work_handler);
}

static struct ble_sensor_conn *alloc_conn_ctx(struct bt_conn *conn)
{
    for (size_t i = 0; i < ARRAY_SIZE(connections); i++) {
        if (!connections[i].in_use) {
            memset(&connections[i], 0, sizeof(connections[i]));
            connections[i].conn = bt_conn_ref(conn);
            connections[i].in_use = true;
            k_work_init_delayable(&connections[i].subscribe_work, subscribe_work_handler);
            k_work_init_delayable(&connections[i].ping_work, ping_work_handler);
            k_work_init_delayable(&connections[i].read_work, read_work_handler);
            return &connections[i];
        }
    }
    return NULL;
}

static uint8_t notify_cb(struct bt_conn *conn, struct bt_gatt_subscribe_params *params,
                         const void *data, uint16_t length)
{
    struct ble_sensor_conn *ctx = find_conn_ctx(conn);

    if (data == NULL) {
        LOG_INF("Notifications stopped");
        params->value_handle = 0U;
        return BT_GATT_ITER_STOP;
    }

    if (!ctx) {
        LOG_WRN("Notify without context");
        return BT_GATT_ITER_CONTINUE;
    }

    LOG_INF("Sensor data (%u bytes)", length);

    if (length == sizeof(struct Sample)) {
        struct Sample sample;
        const uint8_t *raw = data;

        sample.ax1 = (int16_t)sys_get_le16(&raw[0]);
        sample.ay1 = (int16_t)sys_get_le16(&raw[2]);
        sample.az1 = (int16_t)sys_get_le16(&raw[4]);
        sample.mx1 = (int16_t)sys_get_le16(&raw[6]);
        sample.my1 = (int16_t)sys_get_le16(&raw[8]);
        sample.mz1 = (int16_t)sys_get_le16(&raw[10]);
        sample.ax2 = (int16_t)sys_get_le16(&raw[12]);
        sample.ay2 = (int16_t)sys_get_le16(&raw[14]);
        sample.az2 = (int16_t)sys_get_le16(&raw[16]);
        sample.mx2 = (int16_t)sys_get_le16(&raw[18]);
        sample.my2 = (int16_t)sys_get_le16(&raw[20]);
        sample.mz2 = (int16_t)sys_get_le16(&raw[22]);

        int ret = data_logger_queue_sample(ctx->device_name, ctx->device_addr, &sample);
        if (ret != 0) {
            LOG_WRN("CSV queue full (%d)", ret);
        }
    } else {
        LOG_WRN("Unexpected sensor payload size (%u)", length);
    }

    return BT_GATT_ITER_CONTINUE;
}

static void subscribe_work_handler(struct k_work *work)
{
    struct k_work_delayable *delayable = k_work_delayable_from_work(work);
    struct ble_sensor_conn *ctx = CONTAINER_OF(delayable, struct ble_sensor_conn, subscribe_work);

    if (!ctx->in_use || ctx->subscribed || ctx->data_handle == 0U || ctx->data_ccc_handle == 0U) {
        return;
    }

    ctx->subscribe_params.notify = notify_cb;
    ctx->subscribe_params.value_handle = ctx->data_handle;
    ctx->subscribe_params.ccc_handle = ctx->data_ccc_handle;
    ctx->subscribe_params.value = BT_GATT_CCC_NOTIFY;

    int ret = bt_gatt_subscribe(ctx->conn, &ctx->subscribe_params);
    if (ret == 0) {
        ctx->subscribed = true;
        LOG_INF("Subscribed to sensor data");
    } else if (ret == -EALREADY) {
        ctx->subscribed = true;
        LOG_INF("Already subscribed to sensor data");
    } else {
        LOG_WRN("Subscribe failed (%d)", ret);
    }
}

static void start_subscribe_delayed(struct ble_sensor_conn *ctx)
{
    (void)k_work_cancel_delayable(&ctx->subscribe_work);
    k_work_schedule(&ctx->subscribe_work, K_MSEC(SENSOR_SUBSCRIBE_DELAY_MS));
}

static void delay_write_cb(struct bt_conn *conn, uint8_t err,
                           struct bt_gatt_write_params *params)
{
    struct ble_sensor_conn *ctx = CONTAINER_OF(params, struct ble_sensor_conn, write_params);

    if (err != 0U) {
        LOG_WRN("Delay write failed (%u)", err);
        return;
    }

    LOG_INF("Delay written (rsp)");

    data_logger_set_sample_period(sensor_delay_ms);

    schedule_delay_read(ctx);

    (void)k_work_cancel_delayable(&ctx->ping_work);
    k_work_schedule(&ctx->ping_work, K_MSEC(SENSOR_PING_DELAY_MS));
}

static void start_write_sequence(struct ble_sensor_conn *ctx)
{
    if (ctx->delay_handle == 0U || ctx->ping_handle == 0U || ctx->data_ccc_handle == 0U) {
        LOG_WRN("Missing sensor handles (delay %u, data %u, ping %u, ccc %u)",
                ctx->delay_handle, ctx->data_handle, ctx->ping_handle, ctx->data_ccc_handle);
        return;
    }

    ctx->delay_value = sys_cpu_to_le16(sensor_delay_ms);
    ctx->write_params.func = delay_write_cb;
    ctx->write_params.handle = ctx->delay_handle;
    ctx->write_params.offset = 0;
    ctx->write_params.data = &ctx->delay_value;
    ctx->write_params.length = sizeof(ctx->delay_value);

    int ret = bt_gatt_write(ctx->conn, &ctx->write_params);
    if (ret == 0) {
        LOG_INF("Delay write started (rsp)");
        return;
    }

    LOG_WRN("Delay write start failed (%d), trying no-rsp", ret);

    ret = bt_gatt_write_without_response(ctx->conn, ctx->delay_handle,
                                         &ctx->delay_value, sizeof(ctx->delay_value), false);
    if (ret != 0) {
        LOG_WRN("Delay write (no-rsp) failed (%d)", ret);
        return;
    }

    LOG_INF("Delay written (no-rsp)");
    data_logger_set_sample_period(sensor_delay_ms);
    schedule_delay_read(ctx);

    (void)k_work_cancel_delayable(&ctx->ping_work);
    k_work_schedule(&ctx->ping_work, K_MSEC(SENSOR_PING_DELAY_MS));
}

static uint8_t discover_desc_cb(struct bt_conn *conn, const struct bt_gatt_attr *attr,
                                struct bt_gatt_discover_params *params)
{
    struct ble_sensor_conn *ctx = CONTAINER_OF(params, struct ble_sensor_conn, discover_params);

    if (attr == NULL) {
        if (ctx->data_ccc_handle == 0U) {
            LOG_WRN("CCC descriptor not found");
        }
        return BT_GATT_ITER_STOP;
    }

    if (bt_uuid_cmp(attr->uuid, BT_UUID_GATT_CCC) == 0 && attr->handle > ctx->data_handle) {
        ctx->data_ccc_handle = attr->handle;
        start_write_sequence(ctx);
        return BT_GATT_ITER_STOP;
    }

    return BT_GATT_ITER_CONTINUE;
}

static uint8_t discover_char_cb(struct bt_conn *conn, const struct bt_gatt_attr *attr,
                                struct bt_gatt_discover_params *params)
{
    struct ble_sensor_conn *ctx = CONTAINER_OF(params, struct ble_sensor_conn, discover_params);

    if (attr == NULL) {
        if (ctx->data_handle == 0U) {
            LOG_WRN("Sensor data characteristic not found");
            return BT_GATT_ITER_STOP;
        }

        ctx->discover_params.uuid = NULL;
        ctx->discover_params.start_handle = ctx->data_handle + 1;
        ctx->discover_params.end_handle = ctx->svc_end;
        ctx->discover_params.type = BT_GATT_DISCOVER_DESCRIPTOR;
        ctx->discover_params.func = discover_desc_cb;

        if (bt_gatt_discover(conn, &ctx->discover_params) != 0) {
            LOG_WRN("Descriptor discovery failed");
        }
        return BT_GATT_ITER_STOP;
    }

    struct bt_gatt_chrc *chrc = attr->user_data;

    if (bt_uuid_cmp(chrc->uuid, &sensor_delay_uuid.uuid) == 0) {
        ctx->delay_handle = chrc->value_handle;
    } else if (bt_uuid_cmp(chrc->uuid, &sensor_data_uuid.uuid) == 0) {
        ctx->data_handle = chrc->value_handle;
        ctx->data_decl_handle = attr->handle;
        ctx->data_end_handle = 0U;
    } else if (bt_uuid_cmp(chrc->uuid, &sensor_ping_uuid.uuid) == 0) {
        ctx->ping_handle = chrc->value_handle;
    }

    if (ctx->data_decl_handle != 0U && attr->handle > ctx->data_decl_handle && ctx->data_end_handle == 0U) {
        ctx->data_end_handle = attr->handle - 1;
    }

    return BT_GATT_ITER_CONTINUE;
}

static uint8_t discover_service_cb(struct bt_conn *conn, const struct bt_gatt_attr *attr,
                                   struct bt_gatt_discover_params *params)
{
    struct ble_sensor_conn *ctx = CONTAINER_OF(params, struct ble_sensor_conn, discover_params);

    if (attr == NULL) {
        LOG_WRN("Sensor service not found");
        return BT_GATT_ITER_STOP;
    }

    struct bt_gatt_service_val *svc = attr->user_data;

    ctx->svc_start = attr->handle;
    ctx->svc_end = svc->end_handle;

    ctx->discover_params.uuid = NULL;
    ctx->discover_params.start_handle = ctx->svc_start + 1;
    ctx->discover_params.end_handle = ctx->svc_end;
    ctx->discover_params.type = BT_GATT_DISCOVER_CHARACTERISTIC;
    ctx->discover_params.func = discover_char_cb;

    if (bt_gatt_discover(conn, &ctx->discover_params) != 0) {
        LOG_WRN("Characteristic discovery failed");
    }

    return BT_GATT_ITER_STOP;
}

static void start_service_discovery(struct ble_sensor_conn *ctx)
{
    ctx->discover_params.uuid = &sensor_service_uuid.uuid;
    ctx->discover_params.func = discover_service_cb;
    ctx->discover_params.start_handle = BT_ATT_FIRST_ATTRIBUTE_HANDLE;
    ctx->discover_params.end_handle = BT_ATT_LAST_ATTRIBUTE_HANDLE;
    ctx->discover_params.type = BT_GATT_DISCOVER_PRIMARY;

    int ret = bt_gatt_discover(ctx->conn, &ctx->discover_params);
    if (ret != 0) {
        LOG_WRN("Service discovery failed (%d)", ret);
    }
}

int ble_sensor_init(void)
{
    for (size_t i = 0; i < ARRAY_SIZE(connections); i++) {
        memset(&connections[i], 0, sizeof(connections[i]));
        k_work_init_delayable(&connections[i].subscribe_work, subscribe_work_handler);
        k_work_init_delayable(&connections[i].ping_work, ping_work_handler);
        k_work_init_delayable(&connections[i].read_work, read_work_handler);
    }

    return 0;
}

int ble_sensor_set_delay_ms(uint16_t delay_ms)
{
    if (delay_ms == 0U) {
        return -EINVAL;
    }

    sensor_delay_ms = delay_ms;
    LOG_INF("Configured sensor delay: %u ms", sensor_delay_ms);
    return 0;
}

void ble_sensor_on_connected(struct bt_conn *conn, const char *device_name)
{
    struct ble_sensor_conn *ctx = alloc_conn_ctx(conn);
    if (!ctx) {
        LOG_WRN("No free sensor connection slots");
        return;
    }

    bt_addr_le_to_str(bt_conn_get_dst(conn), ctx->device_addr, sizeof(ctx->device_addr));
    if (device_name && device_name[0] != '\0') {
        strncpy(ctx->device_name, device_name, sizeof(ctx->device_name));
        ctx->device_name[sizeof(ctx->device_name) - 1] = '\0';
    } else {
        strncpy(ctx->device_name, "unknown", sizeof(ctx->device_name));
        ctx->device_name[sizeof(ctx->device_name) - 1] = '\0';
    }

    ctx->exchange_params.func = mtu_exchange_cb;
    ctx->mtu_exchanged = false;

    int ret = bt_gatt_exchange_mtu(ctx->conn, &ctx->exchange_params);
    if (ret != 0) {
        LOG_WRN("MTU exchange start failed (%d)", ret);
        start_service_discovery(ctx);
        return;
    }

}

void ble_sensor_on_disconnected(struct bt_conn *conn, uint8_t reason)
{
    struct ble_sensor_conn *ctx = find_conn_ctx(conn);
    if (!ctx) {
        LOG_INF("Disconnected sensor without context (reason %u)", reason);
        return;
    }

    LOG_INF("Sensor disconnected for %s (reason %u)", ctx->device_addr, reason);

    data_logger_flush();
    clear_conn_ctx(ctx);
}
```
